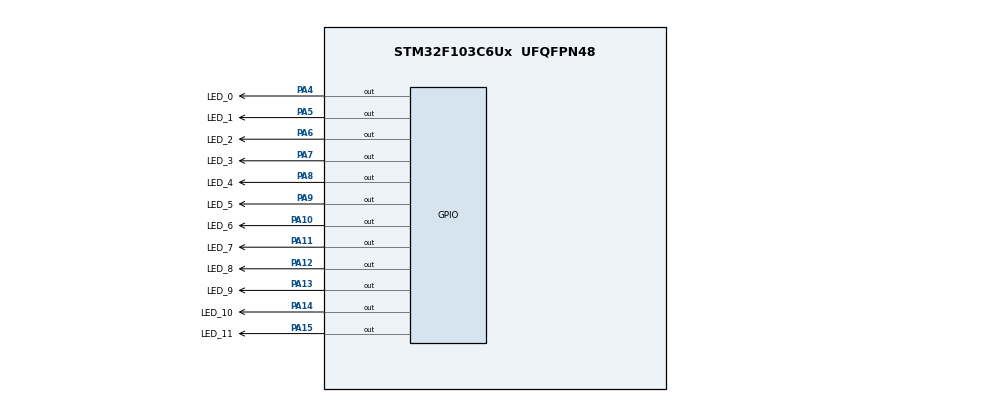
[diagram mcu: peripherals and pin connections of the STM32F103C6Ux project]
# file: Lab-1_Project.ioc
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Mcu.Family=STM32F1
Mcu.Name=STM32F103C6Ux
Mcu.Package=UFQFPN48
NVIC.PriorityGroup=NVIC_PRIORITYGROUP_4
PA10.GPIO_Label=LED_6
PA10.Signal=GPIO_Output
PA11.GPIO_Label=LED_7
PA11.Signal=GPIO_Output
PA12.GPIO_Label=LED_8
PA12.Signal=GPIO_Output
PA13.GPIO_Label=LED_9
PA13.Signal=GPIO_Output
PA14.GPIO_Label=LED_10
PA14.Signal=GPIO_Output
PA15.GPIO_Label=LED_11
PA15.Signal=GPIO_Output
PA4.GPIO_Label=LED_0
PA4.Signal=GPIO_Output
PA5.GPIO_Label=LED_1
PA5.Signal=GPIO_Output
PA6.GPIO_Label=LED_2
PA6.Signal=GPIO_Output
PA7.GPIO_Label=LED_3
PA7.Signal=GPIO_Output
PA8.GPIO_Label=LED_4
PA8.Signal=GPIO_Output
PA9.GPIO_Label=LED_5
PA9.Signal=GPIO_Output
ProjectManager.HeapSize=0x200
ProjectManager.StackSize=0x400
ProjectManager.TargetToolchain=STM32CubeIDE
RCC.APB1Freq_Value=8000000
RCC.APB2Freq_Value=8000000
VP_SYS_VS_ND.Mode=No_Debug
board=custom

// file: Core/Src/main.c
/* USER CODE BEGIN Header */
/**
  ******************************************************************************
  * @file           : main.c
  * @brief          : Main program body
  ******************************************************************************
  * @attention
  *
  * <h2><center>&copy; Copyright (c) 2025 STMicroelectronics.
  * All rights reserved.</center></h2>
  *
  * This software component is licensed by ST under BSD 3-Clause license,
  * the "License"; You may not use this file except in compliance with the
  * License. You may obtain a copy of the License at:
  *                        opensource.org/licenses/BSD-3-Clause
  *
  ******************************************************************************
  */
/* USER CODE END Header */
#include "main.h"

void SystemClock_Config(void);
static void MX_GPIO_Init(void);
/* USER CODE BEGIN PFP */
void clearAllClock();
void setNumberOnClock(int number);
void clearNumberOnClock(int number);

/* USER CODE END PFP */

/* USER CODE BEGIN 0 */
void clearAllClock(){
	HAL_GPIO_WritePin(GPIOA, LED_0_Pin << 0, SET);
	HAL_GPIO_WritePin(GPIOA, LED_0_Pin << 1, SET);
	HAL_GPIO_WritePin(GPIOA, LED_0_Pin << 2, SET);
	HAL_GPIO_WritePin(GPIOA, LED_0_Pin << 3, SET);
	HAL_GPIO_WritePin(GPIOA, LED_0_Pin << 4, SET);
	HAL_GPIO_WritePin(GPIOA, LED_0_Pin << 5, SET);
	HAL_GPIO_WritePin(GPIOA, LED_0_Pin << 6, SET);
	HAL_GPIO_WritePin(GPIOA, LED_0_Pin << 7, SET);
	HAL_GPIO_WritePin(GPIOA, LED_0_Pin << 8, SET);
	HAL_GPIO_WritePin(GPIOA, LED_0_Pin << 9, SET);
	HAL_GPIO_WritePin(GPIOA, LED_0_Pin << 10, SET);
	HAL_GPIO_WritePin(GPIOA, LED_0_Pin << 11, SET);
}

void setNumberOnClock(int number){
	HAL_GPIO_WritePin(GPIOA, LED_0_Pin << number, RESET);
}

void clearNumberOnClock(int number){
	HAL_GPIO_WritePin(GPIOA, LED_0_Pin << number, SET);
}

/* USER CODE END 0 */

int main(void)
{

  /* MCU Configuration--------------------------------------------------------*/

  /* Reset of all peripherals, Initializes the Flash interface and the Systick. */
  HAL_Init();

  /* Configure the system clock */
  SystemClock_Config();

  /* Initialize all configured peripherals */
  MX_GPIO_Init();
  /* USER CODE BEGIN 2 */
	int hour = 0;
	int minute = 0;
	int second = 0;

	int sec_counter = 5;
	int min_counter = 5;
  /* USER CODE END 2 */

  /* Infinite loop */
  while (1)
  {

    /* USER CODE BEGIN 3 */
	clearAllClock();
	setNumberOnClock(second);
	setNumberOnClock(minute);
	setNumberOnClock(hour);

//Update counter
	sec_counter--;
	//Update every 5sec
	if(sec_counter <= 0){
		second++;
		sec_counter = 5;
	}

	//Reset every 1min -> update min_counter
	if(second >= 12){
		min_counter--;
		second = 0;
	}

	//Update every 5min
	if(min_counter <= 0){
		minute++;
		min_counter = 5;
	}

	//Update hour every 12 min_LED, reset minute
	if(minute >= 12){
		hour++;
		minute = 0;
	}

	//Reset after 12hour
	if(hour >= 12){
		hour = 0;
	}

	HAL_Delay(3);
  }
  /* USER CODE END 3 */
}

void SystemClock_Config(void)
{
  RCC_OscInitTypeDef RCC_OscInitStruct = {0};
  RCC_ClkInitTypeDef RCC_ClkInitStruct = {0};

  /** Initializes the RCC Oscillators according to the specified parameters
  * in the RCC_OscInitTypeDef structure.
  */
  RCC_OscInitStruct.OscillatorType = RCC_OSCILLATORTYPE_HSI;
  RCC_OscInitStruct.HSIState = RCC_HSI_ON;
  RCC_OscInitStruct.HSICalibrationValue = RCC_HSICALIBRATION_DEFAULT;
  RCC_OscInitStruct.PLL.PLLState = RCC_PLL_NONE;
  if (HAL_RCC_OscConfig(&RCC_OscInitStruct) != HAL_OK)
  {
    Error_Handler();
  }
  /** Initializes the CPU, AHB and APB buses clocks
  */
  RCC_ClkInitStruct.ClockType = RCC_CLOCKTYPE_HCLK|RCC_CLOCKTYPE_SYSCLK
                              |RCC_CLOCKTYPE_PCLK1|RCC_CLOCKTYPE_PCLK2;
  RCC_ClkInitStruct.SYSCLKSource = RCC_SYSCLKSOURCE_HSI;
  RCC_ClkInitStruct.AHBCLKDivider = RCC_SYSCLK_DIV1;
  RCC_ClkInitStruct.APB1CLKDivider = RCC_HCLK_DIV1;
  RCC_ClkInitStruct.APB2CLKDivider = RCC_HCLK_DIV1;

  if (HAL_RCC_ClockConfig(&RCC_ClkInitStruct, FLASH_LATENCY_0) != HAL_OK)
  {
    Error_Handler();
  }
}

static void MX_GPIO_Init(void)
{
  GPIO_InitTypeDef GPIO_InitStruct = {0};

  /* GPIO Ports Clock Enable */
  __HAL_RCC_GPIOA_CLK_ENABLE();

  /*Configure GPIO pin Output Level */
  HAL_GPIO_WritePin(GPIOA, LED_0_Pin|LED_1_Pin|LED_2_Pin|LED_3_Pin
                          |LED_4_Pin|LED_5_Pin|LED_6_Pin|LED_7_Pin
                          |LED_8_Pin|LED_9_Pin|LED_10_Pin|LED_11_Pin, GPIO_PIN_RESET);

  /*Configure GPIO pins : LED_0_Pin LED_1_Pin LED_2_Pin LED_3_Pin
                           LED_4_Pin LED_5_Pin LED_6_Pin LED_7_Pin
                           LED_8_Pin LED_9_Pin LED_10_Pin LED_11_Pin */
  GPIO_InitStruct.Pin = LED_0_Pin|LED_1_Pin|LED_2_Pin|LED_3_Pin
                          |LED_4_Pin|LED_5_Pin|LED_6_Pin|LED_7_Pin
                          |LED_8_Pin|LED_9_Pin|LED_10_Pin|LED_11_Pin;
  GPIO_InitStruct.Mode = GPIO_MODE_OUTPUT_PP;
  GPIO_InitStruct.Pull = GPIO_NOPULL;
  GPIO_InitStruct.Speed = GPIO_SPEED_FREQ_LOW;
  HAL_GPIO_Init(GPIOA, &GPIO_InitStruct);

}

void Error_Handler(void)
{
  __disable_irq();
  while (1)
  {
  }
}

/************************ (C) COPYRIGHT STMicroelectronics *****END OF FILE****/
